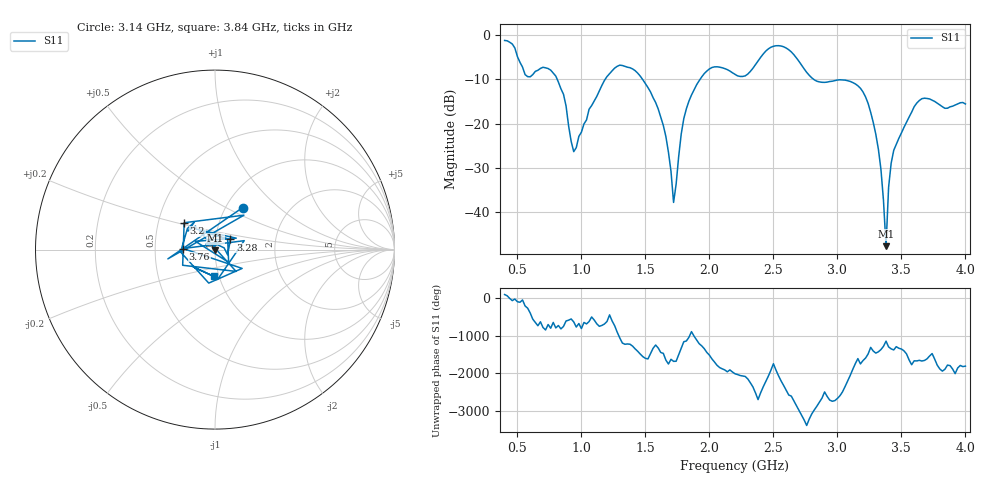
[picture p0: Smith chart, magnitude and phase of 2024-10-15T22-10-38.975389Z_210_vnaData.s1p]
! Created with skrf (http://scikit-rf.org).
# Hz S RI R 50.0
!freq ReS11 ImS11
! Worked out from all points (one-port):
!   181 points, 400 MHz to 4 GHz, reference 50 ohm
!   lowest |S11| = -47.7 dB at 3.38 GHz (marker M1), VSWR 1.01, Z = 50.2 - j0.372 ohm
!   |S11| at or under -10 dB: 810.9 MHz to 1.186 GHz (374.8 MHz wide, 37.5 % of centre); 1.478 GHz to 1.927 GHz (449.6 MHz wide, 26.4 % of centre); 2.815 GHz to end of sweep
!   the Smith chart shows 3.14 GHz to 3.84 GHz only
!   S11 on the Smith chart (normalised r, x): 3.14 GHz: 1.20, +0.61; 3.2 GHz: 0.68, +0.21; 3.28 GHz: 1.18, +0.13; 3.76 GHz: 0.70, +0.01; 3.84 GHz: 0.94, -0.29
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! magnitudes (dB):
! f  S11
! 400 MHz  -1.2
! 560 MHz  -8.9
! 740 MHz  -7.6
! 860 MHz  -13.4
! 940 MHz  -26.4
! 1.3 GHz  -6.8
! 1.6 GHz  -16.7
! 1.66 GHz  -22.9
! 1.72 GHz  -37.8
! 1.76 GHz  -27.5
! 1.82 GHz  -16.7
! 1.94 GHz  -9.4
! 2.2 GHz  -8.9
! 2.5 GHz  -2.5
! 2.66 GHz  -4.4
! 2.84 GHz  -10.4
! 3.1 GHz  -10.5
! 3.14 GHz  -11.0
! 3.2 GHz  -12.8
! 3.28 GHz  -19.7
! 3.34 GHz  -30.3
! 3.38 GHz  -47.7
! 3.4 GHz  -34.4
! 3.42 GHz  -29.0
! 3.56 GHz  -18.5
! 3.76 GHz  -15.0
! 3.84 GHz  -16.6
! 4 GHz  -15.6
